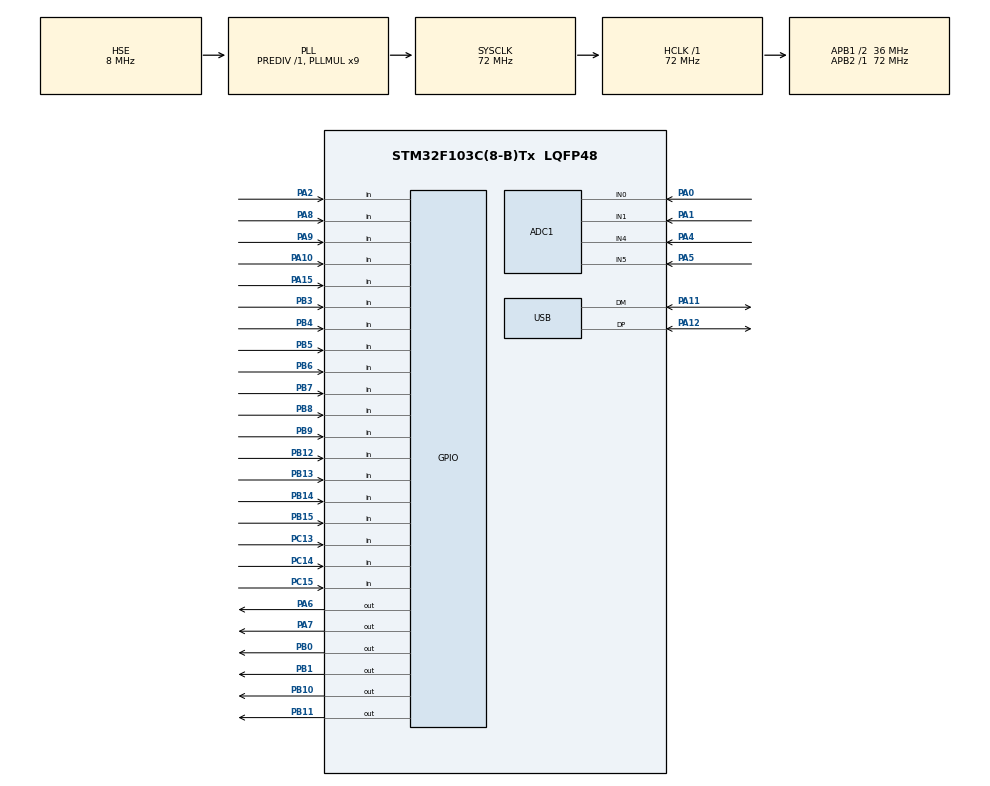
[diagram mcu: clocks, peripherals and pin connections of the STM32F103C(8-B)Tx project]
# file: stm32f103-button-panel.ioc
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ADC1.Channel-2\#ChannelRegularConversion=ADC_CHANNEL_0
ADC1.Channel-3\#ChannelRegularConversion=ADC_CHANNEL_1
ADC1.Channel-4\#ChannelRegularConversion=ADC_CHANNEL_4
ADC1.Channel-5\#ChannelRegularConversion=ADC_CHANNEL_5
ADC1.NbrOfConversion=4
ADC1.NbrOfConversionFlag=1
ADC1.Rank-2\#ChannelRegularConversion=1
ADC1.Rank-3\#ChannelRegularConversion=2
ADC1.Rank-4\#ChannelRegularConversion=3
ADC1.Rank-5\#ChannelRegularConversion=4
ADC1.SamplingTime-2\#ChannelRegularConversion=ADC_SAMPLETIME_1CYCLE_5
ADC1.SamplingTime-3\#ChannelRegularConversion=ADC_SAMPLETIME_1CYCLE_5
ADC1.SamplingTime-4\#ChannelRegularConversion=ADC_SAMPLETIME_1CYCLE_5
ADC1.SamplingTime-5\#ChannelRegularConversion=ADC_SAMPLETIME_1CYCLE_5
ADC1.master=1
Dma.ADC1.0.Direction=DMA_PERIPH_TO_MEMORY
Dma.ADC1.0.Instance=DMA1_Channel1
Dma.ADC1.0.MemDataAlignment=DMA_MDATAALIGN_WORD
Dma.ADC1.0.MemInc=DMA_MINC_ENABLE
Dma.ADC1.0.Mode=DMA_CIRCULAR
Dma.ADC1.0.PeriphDataAlignment=DMA_PDATAALIGN_WORD
Dma.ADC1.0.PeriphInc=DMA_PINC_DISABLE
Dma.ADC1.0.Priority=DMA_PRIORITY_LOW
Dma.Request0=ADC1
Mcu.Family=STM32F1
Mcu.Name=STM32F103C(8-B)Tx
Mcu.Package=LQFP48
NVIC.DMA1_Channel1_IRQn=true\:0\:0\:false\:false\:true\:false\:true\:true
NVIC.PriorityGroup=NVIC_PRIORITYGROUP_4
NVIC.USB_LP_CAN1_RX0_IRQn=true\:0\:0\:false\:false\:true\:false\:true\:true
PA0-WKUP.Signal=ADCx_IN0
PA1.Signal=ADCx_IN1
PA10.GPIO_Mode=GPIO_MODE_INPUT
PA10.GPIO_PuPd=GPIO_PULLUP
PA10.Signal=GPIO_Input
PA11.Mode=Device
PA11.Signal=USB_DM
PA12.Mode=Device
PA12.Signal=USB_DP
PA13.Mode=Serial_Wire
PA13.Signal=SYS_JTMS-SWDIO
PA14.Mode=Serial_Wire
PA14.Signal=SYS_JTCK-SWCLK
PA15.GPIO_Mode=GPIO_MODE_INPUT
PA15.GPIO_PuPd=GPIO_PULLUP
PA15.Signal=GPIO_Input
PA2.GPIO_PuPd=GPIO_PULLUP
PA2.Signal=GPIO_Input
PA4.Signal=ADCx_IN4
PA5.Signal=ADCx_IN5
PA6.GPIO_ModeDefaultOutputPP=GPIO_MODE_OUTPUT_PP
PA6.GPIO_PuPd=GPIO_NOPULL
PA6.GPIO_Speed=GPIO_SPEED_FREQ_LOW
PA6.PinState=GPIO_PIN_RESET
PA6.Signal=GPIO_Output
PA7.GPIO_ModeDefaultOutputPP=GPIO_MODE_OUTPUT_PP
PA7.GPIO_PuPd=GPIO_NOPULL
PA7.GPIO_Speed=GPIO_SPEED_FREQ_LOW
PA7.PinState=GPIO_PIN_RESET
PA7.Signal=GPIO_Output
PA8.GPIO_Mode=GPIO_MODE_INPUT
PA8.GPIO_PuPd=GPIO_PULLUP
PA8.Signal=GPIO_Input
PA9.GPIO_Mode=GPIO_MODE_INPUT
PA9.GPIO_PuPd=GPIO_PULLUP
PA9.Signal=GPIO_Input
PB0.GPIO_ModeDefaultOutputPP=GPIO_MODE_OUTPUT_PP
PB0.GPIO_PuPd=GPIO_NOPULL
PB0.GPIO_Speed=GPIO_SPEED_FREQ_LOW
PB0.PinState=GPIO_PIN_RESET
PB0.Signal=GPIO_Output
PB1.GPIO_ModeDefaultOutputPP=GPIO_MODE_OUTPUT_PP
PB1.GPIO_PuPd=GPIO_NOPULL
PB1.GPIO_Speed=GPIO_SPEED_FREQ_LOW
PB1.PinState=GPIO_PIN_RESET
PB1.Signal=GPIO_Output
PB10.GPIO_PuPd=GPIO_NOPULL
PB10.Signal=GPIO_Output
PB11.Signal=GPIO_Output
PB12.GPIO_Mode=GPIO_MODE_INPUT
PB12.GPIO_PuPd=GPIO_PULLUP
PB12.Signal=GPIO_Input
PB13.GPIO_Mode=GPIO_MODE_INPUT
PB13.GPIO_PuPd=GPIO_PULLUP
PB13.Signal=GPIO_Input
PB14.GPIO_Mode=GPIO_MODE_INPUT
PB14.GPIO_PuPd=GPIO_PULLUP
PB14.Signal=GPIO_Input
PB15.GPIO_Mode=GPIO_MODE_INPUT
PB15.GPIO_PuPd=GPIO_PULLUP
PB15.Signal=GPIO_Input
PB3.GPIO_Mode=GPIO_MODE_INPUT
PB3.GPIO_PuPd=GPIO_PULLUP
PB3.Signal=GPIO_Input
PB4.GPIO_Mode=GPIO_MODE_INPUT
PB4.GPIO_PuPd=GPIO_PULLUP
PB4.Signal=GPIO_Input
PB5.GPIO_Mode=GPIO_MODE_INPUT
PB5.GPIO_PuPd=GPIO_PULLUP
PB5.Signal=GPIO_Input
PB6.GPIO_Mode=GPIO_MODE_INPUT
PB6.GPIO_PuPd=GPIO_PULLUP
PB6.Signal=GPIO_Input
PB7.GPIO_Mode=GPIO_MODE_INPUT
PB7.GPIO_PuPd=GPIO_PULLUP
PB7.Signal=GPIO_Input
PB8.GPIO_Mode=GPIO_MODE_INPUT
PB8.GPIO_PuPd=GPIO_PULLUP
PB8.Signal=GPIO_Input
PB9.GPIO_Mode=GPIO_MODE_INPUT
PB9.GPIO_PuPd=GPIO_PULLUP
PB9.Signal=GPIO_Input
PC13-TAMPER-RTC.GPIO_PuPd=GPIO_PULLUP
PC13-TAMPER-RTC.Signal=GPIO_Input
PC14-OSC32_IN.GPIO_PuPd=GPIO_PULLUP
PC14-OSC32_IN.Signal=GPIO_Input
PC15-OSC32_OUT.GPIO_PuPd=GPIO_PULLUP
PC15-OSC32_OUT.Signal=GPIO_Input
PD0-OSC_IN.Mode=HSE-External-Oscillator
PD0-OSC_IN.Signal=RCC_OSC_IN
PD1-OSC_OUT.Mode=HSE-External-Oscillator
PD1-OSC_OUT.Signal=RCC_OSC_OUT
ProjectManager.HeapSize=0x200
ProjectManager.StackSize=0x400
ProjectManager.TargetToolchain=STM32CubeIDE
RCC.ADCPresc=RCC_ADCPCLK2_DIV6
RCC.AHBFreq_Value=72000000
RCC.APB1CLKDivider=RCC_HCLK_DIV2
RCC.APB1Freq_Value=36000000
RCC.APB1TimFreq_Value=72000000
RCC.APB2Freq_Value=72000000
RCC.APB2TimFreq_Value=72000000
RCC.HCLKFreq_Value=72000000
RCC.PLLMUL=RCC_PLL_MUL9
RCC.PLLSourceVirtual=RCC_PLLSOURCE_HSE
RCC.SYSCLKFreq_VALUE=72000000
RCC.SYSCLKSource=RCC_SYSCLKSOURCE_PLLCLK
RCC.USBFreq_Value=48000000
RCC.USBPrescaler=RCC_USBCLKSOURCE_PLL_DIV1_5
SH.ADCx_IN0.0=ADC1_IN0,IN0
SH.ADCx_IN1.0=ADC1_IN1,IN1
SH.ADCx_IN4.0=ADC1_IN4,IN4
SH.ADCx_IN5.0=ADC1_IN5,IN5
USB_DEVICE.CLASS_NAME_FS=CDC
USB_DEVICE.MANUFACTURER_STRING=Vertile
USB_DEVICE.VirtualMode=Cdc
USB_DEVICE.VirtualModeFS=Cdc_FS
VP_USB_DEVICE_VS_USB_DEVICE_CDC_FS.Mode=CDC_FS
board=custom

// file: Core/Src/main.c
/* USER CODE BEGIN Header */
/**
  ******************************************************************************
  * @file           : main.c
  * @brief          : Main program body
  ******************************************************************************
  * @attention
  *
  * Copyright (c) 2024 STMicroelectronics.
  * All rights reserved.
  *
  * This software is licensed under terms that can be found in the LICENSE file
  * in the root directory of this software component.
  * If no LICENSE file comes with this software, it is provided AS-IS.
  *
  ******************************************************************************
  */
/* USER CODE END Header */
#include "main.h"
#include "usb_device.h"

/* USER CODE BEGIN Includes */
#include "usbd_cdc_if.h"
#include "globals.h"
#include "lowpassfilter.h"
#include "debounce.h"
#include <math.h>
/* USER CODE END Includes */

ADC_HandleTypeDef hadc1;
DMA_HandleTypeDef hdma_adc1;

/* USER CODE BEGIN PV */
uint8_t buttons[NUM_BUTTONS];
lp_t dial_filters[NUM_DIALS];
uint32_t dials[NUM_DIALS];
uint32_t dials_last[NUM_DIALS];
char button_string[] = "B:00:0\r\n\0";
char analog_string[] = "A:0000:0000:0000:0000\r\n\0";
/* USER CODE END PV */

void SystemClock_Config(void);
static void MX_GPIO_Init(void);
static void MX_DMA_Init(void);
static void MX_ADC1_Init(void);

/* USER CODE BEGIN 0 */
void send_button(uint8_t idx) {
  sprintf(button_string, "B:%02d:%1d\r\n", idx, buttons[idx]?0:1);
  CDC_Transmit_FS((uint8_t*)button_string, strlen(button_string));
}

void check_last_dials() {
  // wait for first read
  if (dials[0] == 0 && dials[1] == 0 && dials[2] == 0 && dials[3] == 0) {
    return;
  }
  for (uint8_t i = 0; i < NUM_DIALS; i++) {
    lp_filter(&dial_filters[i], dials[i]);
  }
}

void send_dials() {
  if (dials[0] == 0 && dials[1] == 0 && dials[2] == 0 && dials[3] == 0) {
    return;
  }
  int rounded[4];
  for (uint8_t i = 0; i < NUM_DIALS; i++) {
    rounded[i] = round(dial_filters[i].smooth);
  }
  if (rounded[0] != dials_last[0] || rounded[1] != dials_last[1] || rounded[2] != dials_last[2] || rounded[3] != dials_last[3]) {
    sprintf(analog_string, "A:%04d:%04d:%04d:%04d\r\n", rounded[0], rounded[1], rounded[2], rounded[3]);
    CDC_Transmit_FS((uint8_t*)analog_string, strlen(analog_string));
    dials_last[0] = rounded[0];
    dials_last[1] = rounded[1];
    dials_last[2] = rounded[2];
    dials_last[3] = rounded[3];
  }
}

ButtonDebounce_Config db[NUM_BUTTONS];
static ButtonDebounce_State dbs[NUM_BUTTONS];

/* USER CODE END 0 */

int main(void)
{

  /* MCU Configuration--------------------------------------------------------*/

  /* Reset of all peripherals, Initializes the Flash interface and the Systick. */
  HAL_Init();

  /* Configure the system clock */
  SystemClock_Config();

  /* Initialize all configured peripherals */
  MX_GPIO_Init();
  MX_DMA_Init();
  MX_ADC1_Init();
  MX_USB_DEVICE_Init();
  /* USER CODE BEGIN 2 */
  for(uint8_t i = 0; i < NUM_DIALS; i++) {
    dial_filters[i].beta = .0015f;
  }
  for(uint8_t i = 0; i < NUM_BUTTONS; i++) {
    db[i].rose = &send_button;
    db[i].fell = &send_button;
    db[i].idx = i;
    button_debounce__init(&dbs[i]);
  }

  /* USER CODE END 2 */

  /* Infinite loop */
  /* USER CODE BEGIN WHILE */
  uint32_t i = 0;
  while (1)
  {
    if (i % BTN_READ_FREQUENCY == 0) {
      buttons[0] = HAL_GPIO_ReadPin(BTN_V_0);
      buttons[1] = HAL_GPIO_ReadPin(BTN_V_1);
      buttons[2] = HAL_GPIO_ReadPin(BTN_V_2);
      buttons[3] = HAL_GPIO_ReadPin(BTN_V_3);
      buttons[4] = HAL_GPIO_ReadPin(BTN_V_4);
      buttons[5] = HAL_GPIO_ReadPin(BTN_V_5);
      buttons[6] = HAL_GPIO_ReadPin(BTN_V_6);

      buttons[7] = HAL_GPIO_ReadPin(BTN_H_9);
      buttons[8] = HAL_GPIO_ReadPin(BTN_H_0);
      buttons[9] = HAL_GPIO_ReadPin(BTN_H_1);
      buttons[10] = HAL_GPIO_ReadPin(BTN_H_2);
      buttons[11] = HAL_GPIO_ReadPin(BTN_H_3);
      buttons[12] = HAL_GPIO_ReadPin(BTN_H_4);
      buttons[13] = HAL_GPIO_ReadPin(BTN_H_5);
      buttons[14] = HAL_GPIO_ReadPin(BTN_H_6);
      buttons[15] = HAL_GPIO_ReadPin(BTN_H_7);
      buttons[16] = HAL_GPIO_ReadPin(BTN_H_8);
      buttons[17] = HAL_GPIO_ReadPin(BTN_SPINDLE);
      buttons[18] = HAL_GPIO_ReadPin(BTN_BONUS);

      for(uint8_t i = 0; i < NUM_BUTTONS; i++) {
        button_debounce__sample(&db[i], &dbs[i], buttons[i]);
      }
    }

    if (i % ADC_READ_FREQUENCY == 0) {
      // DMA reads into the dials variable
      HAL_ADC_Start_DMA(&hadc1, dials, NUM_DIALS);
      check_last_dials();
    }

    if (i % ADC_SERIAL_SEND_FREQUENCY == 0) {
      send_dials();
    }

    //HAL_Delay(1);
    i++;
    /* USER CODE END WHILE */

  }
}

void SystemClock_Config(void)
{
  RCC_OscInitTypeDef RCC_OscInitStruct = {0};
  RCC_ClkInitTypeDef RCC_ClkInitStruct = {0};
  RCC_PeriphCLKInitTypeDef PeriphClkInit = {0};

  /** Initializes the RCC Oscillators according to the specified parameters
  * in the RCC_OscInitTypeDef structure.
  */
  RCC_OscInitStruct.OscillatorType = RCC_OSCILLATORTYPE_HSE;
  RCC_OscInitStruct.HSEState = RCC_HSE_ON;
  RCC_OscInitStruct.HSEPredivValue = RCC_HSE_PREDIV_DIV1;
  RCC_OscInitStruct.HSIState = RCC_HSI_ON;
  RCC_OscInitStruct.PLL.PLLState = RCC_PLL_ON;
  RCC_OscInitStruct.PLL.PLLSource = RCC_PLLSOURCE_HSE;
  RCC_OscInitStruct.PLL.PLLMUL = RCC_PLL_MUL9;
  if (HAL_RCC_OscConfig(&RCC_OscInitStruct) != HAL_OK)
  {
    Error_Handler();
  }

  /** Initializes the CPU, AHB and APB buses clocks
  */
  RCC_ClkInitStruct.ClockType = RCC_CLOCKTYPE_HCLK|RCC_CLOCKTYPE_SYSCLK
                              |RCC_CLOCKTYPE_PCLK1|RCC_CLOCKTYPE_PCLK2;
  RCC_ClkInitStruct.SYSCLKSource = RCC_SYSCLKSOURCE_PLLCLK;
  RCC_ClkInitStruct.AHBCLKDivider = RCC_SYSCLK_DIV1;
  RCC_ClkInitStruct.APB1CLKDivider = RCC_HCLK_DIV2;
  RCC_ClkInitStruct.APB2CLKDivider = RCC_HCLK_DIV1;

  if (HAL_RCC_ClockConfig(&RCC_ClkInitStruct, FLASH_LATENCY_2) != HAL_OK)
  {
    Error_Handler();
  }
  PeriphClkInit.PeriphClockSelection = RCC_PERIPHCLK_ADC|RCC_PERIPHCLK_USB;
  PeriphClkInit.AdcClockSelection = RCC_ADCPCLK2_DIV6;
  PeriphClkInit.UsbClockSelection = RCC_USBCLKSOURCE_PLL_DIV1_5;
  if (HAL_RCCEx_PeriphCLKConfig(&PeriphClkInit) != HAL_OK)
  {
    Error_Handler();
  }
}

static void MX_ADC1_Init(void)
{

  ADC_ChannelConfTypeDef sConfig = {0};

  /** Common config
  */
  hadc1.Instance = ADC1;
  hadc1.Init.ScanConvMode = ADC_SCAN_ENABLE;
  hadc1.Init.ContinuousConvMode = DISABLE;
  hadc1.Init.DiscontinuousConvMode = DISABLE;
  hadc1.Init.ExternalTrigConv = ADC_SOFTWARE_START;
  hadc1.Init.DataAlign = ADC_DATAALIGN_RIGHT;
  hadc1.Init.NbrOfConversion = 4;
  if (HAL_ADC_Init(&hadc1) != HAL_OK)
  {
    Error_Handler();
  }

  /** Configure Regular Channel
  */
  sConfig.Channel = ADC_CHANNEL_0;
  sConfig.Rank = ADC_REGULAR_RANK_1;
  sConfig.SamplingTime = ADC_SAMPLETIME_1CYCLE_5;
  if (HAL_ADC_ConfigChannel(&hadc1, &sConfig) != HAL_OK)
  {
    Error_Handler();
  }

  /** Configure Regular Channel
  */
  sConfig.Channel = ADC_CHANNEL_1;
  sConfig.Rank = ADC_REGULAR_RANK_2;
  if (HAL_ADC_ConfigChannel(&hadc1, &sConfig) != HAL_OK)
  {
    Error_Handler();
  }

  /** Configure Regular Channel
  */
  sConfig.Channel = ADC_CHANNEL_4;
  sConfig.Rank = ADC_REGULAR_RANK_3;
  if (HAL_ADC_ConfigChannel(&hadc1, &sConfig) != HAL_OK)
  {
    Error_Handler();
  }

  /** Configure Regular Channel
  */
  sConfig.Channel = ADC_CHANNEL_5;
  sConfig.Rank = ADC_REGULAR_RANK_4;
  if (HAL_ADC_ConfigChannel(&hadc1, &sConfig) != HAL_OK)
  {
    Error_Handler();
  }

}

static void MX_DMA_Init(void)
{

  /* DMA controller clock enable */
  __HAL_RCC_DMA1_CLK_ENABLE();

  /* DMA interrupt init */
  /* DMA1_Channel1_IRQn interrupt configuration */
  HAL_NVIC_SetPriority(DMA1_Channel1_IRQn, 0, 0);
  HAL_NVIC_EnableIRQ(DMA1_Channel1_IRQn);

}

static void MX_GPIO_Init(void)
{
  GPIO_InitTypeDef GPIO_InitStruct = {0};

  /* GPIO Ports Clock Enable */
  __HAL_RCC_GPIOC_CLK_ENABLE();
  __HAL_RCC_GPIOD_CLK_ENABLE();
  __HAL_RCC_GPIOA_CLK_ENABLE();
  __HAL_RCC_GPIOB_CLK_ENABLE();

  /*Configure GPIO pin Output Level */
  HAL_GPIO_WritePin(GPIOA, GPIO_PIN_6|GPIO_PIN_7, GPIO_PIN_RESET);

  /*Configure GPIO pin Output Level */
  HAL_GPIO_WritePin(GPIOB, GPIO_PIN_0|GPIO_PIN_1|GPIO_PIN_10|GPIO_PIN_11, GPIO_PIN_RESET);

  /*Configure GPIO pins : PC13 PC14 PC15 */
  GPIO_InitStruct.Pin = GPIO_PIN_13|GPIO_PIN_14|GPIO_PIN_15;
  GPIO_InitStruct.Mode = GPIO_MODE_INPUT;
  GPIO_InitStruct.Pull = GPIO_PULLUP;
  HAL_GPIO_Init(GPIOC, &GPIO_InitStruct);

  /*Configure GPIO pins : PA2 PA8 PA9 PA10
                           PA15 */
  GPIO_InitStruct.Pin = GPIO_PIN_2|GPIO_PIN_8|GPIO_PIN_9|GPIO_PIN_10
                          |GPIO_PIN_15;
  GPIO_InitStruct.Mode = GPIO_MODE_INPUT;
  GPIO_InitStruct.Pull = GPIO_PULLUP;
  HAL_GPIO_Init(GPIOA, &GPIO_InitStruct);

  /*Configure GPIO pins : PA6 PA7 */
  GPIO_InitStruct.Pin = GPIO_PIN_6|GPIO_PIN_7;
  GPIO_InitStruct.Mode = GPIO_MODE_OUTPUT_PP;
  GPIO_InitStruct.Pull = GPIO_NOPULL;
  GPIO_InitStruct.Speed = GPIO_SPEED_FREQ_LOW;
  HAL_GPIO_Init(GPIOA, &GPIO_InitStruct);

  /*Configure GPIO pins : PB0 PB1 PB10 PB11 */
  GPIO_InitStruct.Pin = GPIO_PIN_0|GPIO_PIN_1|GPIO_PIN_10|GPIO_PIN_11;
  GPIO_InitStruct.Mode = GPIO_MODE_OUTPUT_PP;
  GPIO_InitStruct.Pull = GPIO_NOPULL;
  GPIO_InitStruct.Speed = GPIO_SPEED_FREQ_LOW;
  HAL_GPIO_Init(GPIOB, &GPIO_InitStruct);

  /*Configure GPIO pins : PB12 PB13 PB14 PB15
                           PB3 PB4 PB5 PB6
                           PB7 PB8 PB9 */
  GPIO_InitStruct.Pin = GPIO_PIN_12|GPIO_PIN_13|GPIO_PIN_14|GPIO_PIN_15
                          |GPIO_PIN_3|GPIO_PIN_4|GPIO_PIN_5|GPIO_PIN_6
                          |GPIO_PIN_7|GPIO_PIN_8|GPIO_PIN_9;
  GPIO_InitStruct.Mode = GPIO_MODE_INPUT;
  GPIO_InitStruct.Pull = GPIO_PULLUP;
  HAL_GPIO_Init(GPIOB, &GPIO_InitStruct);

}

void Error_Handler(void)
{
  __disable_irq();
  while (1)
  {
  }
}
